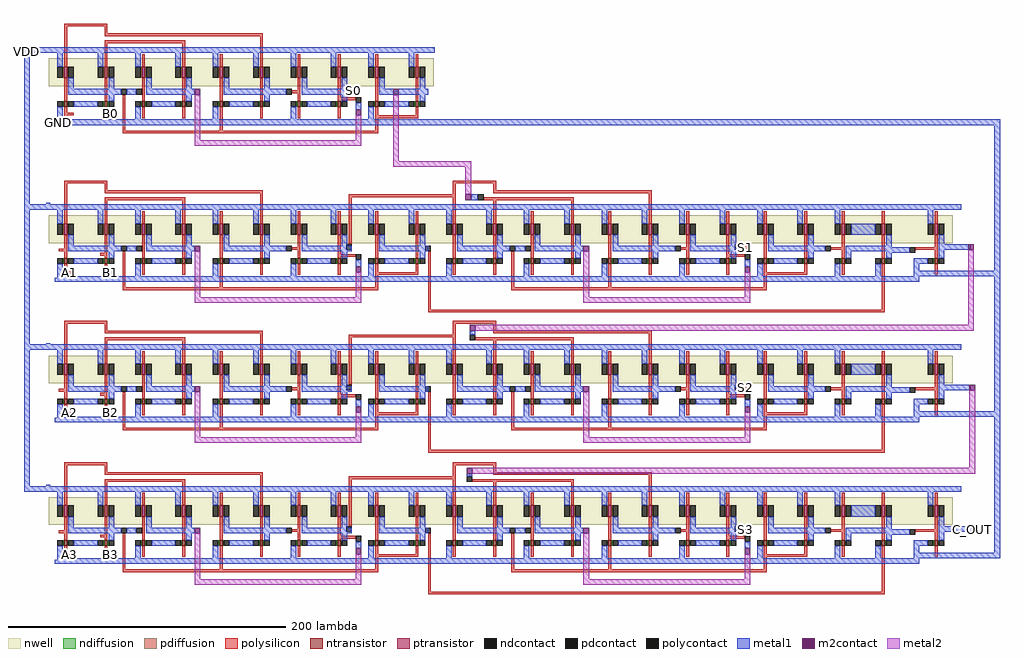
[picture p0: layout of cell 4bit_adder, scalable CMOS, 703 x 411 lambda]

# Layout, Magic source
magic
tech scmos
<< polysilicon >>
rect 14 22 20 24
rect 43 22 48 24
rect 315 -39 321 -37
rect 501 -74 505 -72
rect 14 -92 18 -90
rect 43 -92 47 -90
rect 309 -140 322 -138
rect 502 -175 505 -173
rect 14 -193 18 -191
rect 43 -193 47 -191
rect 307 -242 322 -240
rect 502 -277 505 -275
rect 14 -295 18 -293
rect 43 -295 47 -293
<< metal1 >>
rect -16 67 1 71
rect -16 -42 -12 67
rect 219 38 222 41
rect 3 15 14 19
rect 276 15 687 19
rect 306 -39 311 -35
rect -16 -46 4 -42
rect -16 -143 -12 -46
rect 683 -90 687 15
rect 653 -94 687 -90
rect 305 -136 309 -133
rect -16 -147 5 -143
rect -16 -245 -12 -147
rect 662 -176 665 -172
rect 683 -191 687 -94
rect 653 -195 687 -191
rect 303 -238 307 -236
rect -16 -249 2 -245
rect 665 -278 668 -274
rect 683 -293 687 -195
rect 655 -297 687 -293
<< metal2 >>
rect 250 -11 254 37
rect 250 -15 306 -11
rect 302 -35 306 -15
rect 664 -129 668 -75
rect 309 -133 668 -129
rect 665 -232 669 -176
rect 307 -236 669 -232
<< polycontact >>
rect 311 -39 315 -35
rect 305 -140 309 -136
rect 303 -242 307 -238
<< m2contact >>
rect 250 37 254 41
rect 302 -39 306 -35
rect 664 -75 668 -71
rect 305 -133 309 -129
rect 665 -176 669 -172
rect 303 -236 307 -232
use half_adder  half_adder_0
transform 1 0 12 0 1 55
box -12 -55 268 33
use full_adder  full_adder_0
transform 1 0 0 0 1 -113
box 0 -7 666 88
use full_adder  full_adder_1
transform 1 0 0 0 1 -214
box 0 -7 666 88
use full_adder  full_adder_2
transform 1 0 0 0 1 -316
box 0 -7 666 88
<< labels >>
rlabel metal1 3 15 14 19 1 GND
rlabel metal1 -14 68 -14 68 3 VDD
rlabel polysilicon 18 23 18 23 1 A0
rlabel polysilicon 46 23 46 23 1 B0
rlabel metal1 221 40 221 40 1 S0
rlabel polysilicon 504 -73 504 -73 1 S1
rlabel polysilicon 504 -174 504 -174 1 S2
rlabel polysilicon 504 -276 504 -276 1 S3
rlabel polysilicon 17 -91 17 -91 1 A1
rlabel polysilicon 46 -91 46 -91 1 B1
rlabel polysilicon 17 -192 17 -192 1 A2
rlabel polysilicon 46 -192 46 -192 1 B2
rlabel polysilicon 17 -294 17 -294 1 A3
rlabel polysilicon 46 -294 46 -294 1 B3
rlabel metal1 667 -276 667 -276 1 C_OUT
<< end >>

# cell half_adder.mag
magic
tech scmos
<< nwell >>
rect -10 -12 106 8
rect 152 -12 163 8
rect 208 -12 219 8
<< polysilicon >>
rect 1 31 32 33
rect 1 2 3 31
rect 30 26 32 31
rect 30 24 144 26
rect 30 19 88 21
rect 30 2 32 19
rect 57 2 59 11
rect 86 2 88 19
rect 142 9 144 24
rect 1 -23 3 -6
rect 30 -23 32 -6
rect 1 -35 3 -27
rect 30 -35 32 -27
rect 43 -44 45 -18
rect 57 -23 59 -6
rect 86 -23 88 -6
rect 165 -17 171 -15
rect 198 -22 211 -20
rect 57 -35 59 -27
rect 86 -35 88 -27
rect 113 -44 115 -34
rect 225 -35 256 -33
rect 225 -44 227 -35
rect 43 -46 227 -44
<< ndiffusion >>
rect 0 -27 1 -23
rect 3 -27 4 -23
rect 29 -27 30 -23
rect 32 -27 33 -23
rect 56 -27 57 -23
rect 59 -27 60 -23
rect 85 -27 86 -23
rect 88 -27 89 -23
<< pdiffusion >>
rect 0 -6 1 2
rect 3 -6 4 2
rect 29 -6 30 2
rect 32 -6 33 2
rect 56 -6 57 2
rect 59 -6 60 2
rect 85 -6 86 2
rect 88 -6 89 2
<< metal1 >>
rect -12 12 100 16
rect -4 2 0 12
rect 25 2 29 12
rect 52 2 56 12
rect 81 2 85 12
rect 4 -14 8 -6
rect 33 -14 37 -6
rect 60 -14 64 -6
rect 89 -14 93 -6
rect 4 -18 42 -14
rect 46 -18 53 -14
rect 60 -18 95 -14
rect 149 -18 161 -14
rect 205 -18 208 -14
rect 261 -18 263 -14
rect 33 -23 37 -18
rect 89 -23 93 -18
rect 8 -27 25 -23
rect 64 -27 81 -23
rect -4 -36 0 -27
rect 52 -36 56 -27
rect 211 -29 215 -24
rect -4 -40 113 -36
rect 153 -40 174 -36
rect 207 -40 228 -36
<< metal2 >>
rect 95 -51 99 -18
rect 211 -51 215 -33
rect 95 -55 215 -51
<< ntransistor >>
rect 1 -27 3 -23
rect 30 -27 32 -23
rect 57 -27 59 -23
rect 86 -27 88 -23
<< ptransistor >>
rect 1 -6 3 2
rect 30 -6 32 2
rect 57 -6 59 2
rect 86 -6 88 2
<< polycontact >>
rect 42 -18 46 -14
rect 53 -18 57 -14
rect 161 -18 165 -14
rect 211 -24 215 -20
<< ndcontact >>
rect -4 -27 0 -23
rect 4 -27 8 -23
rect 25 -27 29 -23
rect 33 -27 37 -23
rect 52 -27 56 -23
rect 60 -27 64 -23
rect 81 -27 85 -23
rect 89 -27 93 -23
<< pdcontact >>
rect -4 -6 0 2
rect 4 -6 8 2
rect 25 -6 29 2
rect 33 -6 37 2
rect 52 -6 56 2
rect 60 -6 64 2
rect 81 -6 85 2
rect 89 -6 93 2
<< m2contact >>
rect 95 -18 99 -14
rect 211 -33 215 -29
use nand  nand_2
transform 1 0 224 0 1 0
box -12 -40 44 16
use nand  nand_1
transform 1 0 168 0 1 0
box -12 -40 44 16
use nand  nand_0
transform 1 0 112 0 1 0
box -12 -40 44 16
<< labels >>
rlabel metal1 2 13 2 13 5 vdd
rlabel polysilicon 31 -13 31 -13 1 input2
rlabel metal1 13 -38 13 -38 1 gnd
rlabel polysilicon 2 -13 2 -13 1 input1
rlabel metal1 205 -18 208 -14 1 SUM_HA
rlabel metal1 261 -18 263 -14 1 CARRY_HA
<< end >>

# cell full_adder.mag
magic
tech scmos
<< nwell >>
rect 276 43 287 63
rect 556 43 566 63
<< polysilicon >>
rect 218 76 295 78
rect 218 42 220 76
rect 320 74 322 76
rect 9 37 15 39
rect 500 39 503 41
rect 565 38 574 40
rect 39 34 43 36
rect 275 -5 277 37
rect 602 -5 604 20
rect 275 -7 604 -5
<< metal1 >>
rect 0 69 3 72
rect 553 37 561 41
rect 662 38 666 42
rect 6 16 8 18
rect 6 15 9 16
rect 280 15 289 19
rect 556 15 572 19
<< polycontact >>
rect 216 38 220 42
rect 273 37 277 41
rect 496 38 500 42
rect 561 37 565 41
use or  or_0
transform 1 0 572 0 1 55
box -12 -40 92 16
use half_adder  half_adder_0
transform 1 0 12 0 1 55
box -12 -55 268 33
use half_adder  half_adder_1
transform 1 0 292 0 1 55
box -12 -55 268 33
<< labels >>
rlabel metal1 0 71 3 72 3 VDD
rlabel metal1 6 15 8 18 1 GND
rlabel polysilicon 9 37 13 39 1 input1
rlabel polysilicon 39 34 42 36 1 input2
rlabel polysilicon 320 74 322 76 1 Cin
rlabel polysilicon 500 39 503 41 1 SUM_FA
rlabel metal1 664 38 666 42 7 CARRY_FA
<< end >>

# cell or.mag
magic
tech scmos
<< nwell >>
rect -10 -12 65 8
<< polysilicon >>
rect 1 2 3 11
rect 30 2 32 11
rect 1 -23 3 -6
rect 30 -23 32 -6
rect 54 -17 70 -15
rect 1 -35 3 -27
rect 30 -35 32 -27
<< ndiffusion >>
rect 0 -27 1 -23
rect 3 -27 4 -23
rect 29 -27 30 -23
rect 32 -27 33 -23
<< pdiffusion >>
rect 0 -6 1 2
rect 3 -6 4 2
rect 29 -6 30 2
rect 32 -6 33 2
<< metal1 >>
rect -12 12 65 16
rect -4 2 0 12
rect 8 -6 25 2
rect 33 -14 37 -6
rect 4 -15 37 -14
rect 4 -18 50 -15
rect 4 -23 8 -18
rect 33 -19 50 -18
rect 71 -17 92 -13
rect 33 -23 37 -19
rect -4 -36 0 -27
rect 25 -36 29 -27
rect 53 -36 57 -33
rect -4 -40 57 -36
<< ntransistor >>
rect 1 -27 3 -23
rect 30 -27 32 -23
<< ptransistor >>
rect 1 -6 3 2
rect 30 -6 32 2
<< polycontact >>
rect 50 -19 54 -15
<< ndcontact >>
rect -4 -27 0 -23
rect 4 -27 8 -23
rect 25 -27 29 -23
rect 33 -27 37 -23
<< pdcontact >>
rect -4 -6 0 2
rect 4 -6 8 2
rect 25 -6 29 2
rect 33 -6 37 2
use inverter  inverter_0
transform 1 0 67 0 1 0
box -14 -36 20 16
<< labels >>
rlabel polysilicon 2 -13 2 -13 1 input1
rlabel metal1 13 -38 13 -38 1 gnd
rlabel polysilicon 31 -13 31 -13 1 input2
rlabel metal1 2 13 2 13 5 vdd
rlabel metal1 90 -15 90 -15 7 out
<< end >>

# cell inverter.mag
magic
tech scmos
<< nwell >>
rect -10 -12 14 8
<< polysilicon >>
rect 1 2 3 11
rect 1 -23 3 -6
rect 1 -35 3 -27
<< ndiffusion >>
rect 0 -27 1 -23
rect 3 -27 4 -23
<< pdiffusion >>
rect 0 -6 1 2
rect 3 -6 4 2
<< metal1 >>
rect -12 12 20 16
rect -4 2 0 12
rect 4 -23 8 -6
rect -14 -27 -4 -23
rect -14 -32 -10 -27
rect -14 -36 19 -32
<< ntransistor >>
rect 1 -27 3 -23
<< ptransistor >>
rect 1 -6 3 2
<< ndcontact >>
rect -4 -27 0 -23
rect 4 -27 8 -23
<< pdcontact >>
rect -4 -6 0 2
rect 4 -6 8 2
<< labels >>
rlabel metal1 2 13 2 13 5 vdd
rlabel metal1 -4 -35 -4 -35 1 gnd
rlabel polysilicon 2 -14 2 -14 1 input
rlabel metal1 7 -15 7 -15 1 out
<< end >>

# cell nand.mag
magic
tech scmos
<< nwell >>
rect -10 -12 43 8
<< polysilicon >>
rect 1 2 3 11
rect 30 2 32 11
rect 1 -23 3 -6
rect 30 -23 32 -6
rect 1 -35 3 -27
rect 30 -35 32 -27
<< ndiffusion >>
rect 0 -27 1 -23
rect 3 -27 4 -23
rect 29 -27 30 -23
rect 32 -27 33 -23
<< pdiffusion >>
rect 0 -6 1 2
rect 3 -6 4 2
rect 29 -6 30 2
rect 32 -6 33 2
<< metal1 >>
rect -12 12 44 16
rect -4 2 0 12
rect 25 2 29 12
rect 4 -14 8 -6
rect 33 -14 37 -6
rect 4 -18 37 -14
rect 33 -23 37 -18
rect 8 -27 25 -23
rect -4 -36 0 -27
rect -4 -40 44 -36
<< ntransistor >>
rect 1 -27 3 -23
rect 30 -27 32 -23
<< ptransistor >>
rect 1 -6 3 2
rect 30 -6 32 2
<< ndcontact >>
rect -4 -27 0 -23
rect 4 -27 8 -23
rect 25 -27 29 -23
rect 33 -27 37 -23
<< pdcontact >>
rect -4 -6 0 2
rect 4 -6 8 2
rect 25 -6 29 2
rect 33 -6 37 2
<< labels >>
rlabel metal1 2 13 2 13 5 vdd
rlabel metal1 36 -15 36 -15 1 out
rlabel polysilicon 31 -13 31 -13 1 input2
rlabel metal1 13 -38 13 -38 1 gnd
rlabel polysilicon 2 -13 2 -13 1 input1
<< end >>
